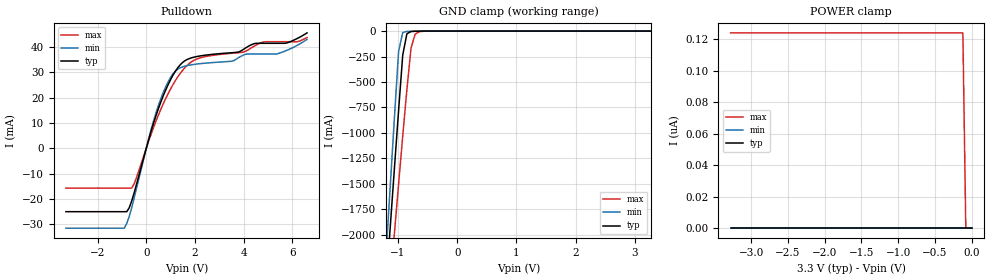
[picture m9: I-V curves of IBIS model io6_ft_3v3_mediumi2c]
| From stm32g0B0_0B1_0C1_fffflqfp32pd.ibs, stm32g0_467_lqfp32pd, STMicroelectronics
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[Model]  io6_ft_3v3_mediumi2c
Model_type I/O_open_drain
Polarity   Non-Inverting
Enable   Active-Low
Vinl =   0.990000V
Vinh =   2.310000V
Vmeas =  1.650000V
Cref =   30.000000pF
Rref =   500
Vref =   3.0V
C_comp   1.290400pF   1.272500pF   1.305600pF
[Temperature Range]   25.000000   -40.000000   0.125000k
[Pullup Reference]   3.300000V   3.000000V   3.600000V
[Pulldown Reference]   0.0V   0.0V   0.0V
[POWER Clamp Reference]   3.300000V   3.000000V   3.600000V
[GND Clamp Reference]   0.0V   0.0V   0.0V
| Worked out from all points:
|   slope of the pulldown table from 0 to 0.495 V, typ, clamps not added: 31.8 ohm
|   GND clamp passes 1 mA (typ) near -0.65 V on its own axis
[Pulldown]
|Voltage   I(typ)   I(min)   I(max)
-3.3V     -25.03mA   -31.54mA   -15.7mA
-900mV    -25.03mA   -31.54mA   -15.7mA
-700mV    -23.48mA   -26.96mA   -15.7mA
-500mV    -17.69mA   -19.75mA   -14.07mA
100mV     3.479mA    3.853mA    2.862mA
500mV     15.71mA    16.96mA    13.17mA
900mV     25.22mA    26.33mA    21.66mA
1.3V      31.91mA    31.32mA    28.29mA
2.2V      36.48mA    33.43mA    35.69mA
4.1V      39.78mA    37.21mA    38.43mA
5.4V      41.49mA    37.39mA    42.11mA
6.6V      45.6mA     43.04mA    43.74mA
[GND_clamp]
|Voltage   I(typ)   I(min)   I(max)
-3.3V     -9.61A     -9.635A    -9.699A
-1.2V     -2.493A    -2.184A    -2.958A
-1.13V    -1.917A    -1.512A    -2.469A
-1.06V    -1.345A    -845.6mA   -1.983A
-990mV    -779.8mA   -200.2mA   -1.503A
-920mV    -235.5mA   -14.18mA   -1.03A
-850mV    -26.06mA   -3.338mA   -574.2mA
-780mV    -4.499mA   -1.808mA   -166.4mA
-710mV    -1.722mA   -869.6uA   -29.45mA
-640mV    -806.7uA   -283.7uA   -6.281mA
3.28V     0A         0A         0A
[POWER_clamp]
|Voltage   I(typ)   I(min)   I(max)
-3.28V    0A         0A         124nA
-120mV    0A         0A         124nA
-80mV     0A         0A         0A
0V        0A         0A         0A
[Ramp]
| variable   typ   min   max
dV/dt_r  1.07616/8.22317n   0.96378/7.45192n   1.030/10.09173n
dV/dt_f  1.03266/7.51190n   0.95382/7.43316n   1.02570/8.04372n
R_load = 50.000000
